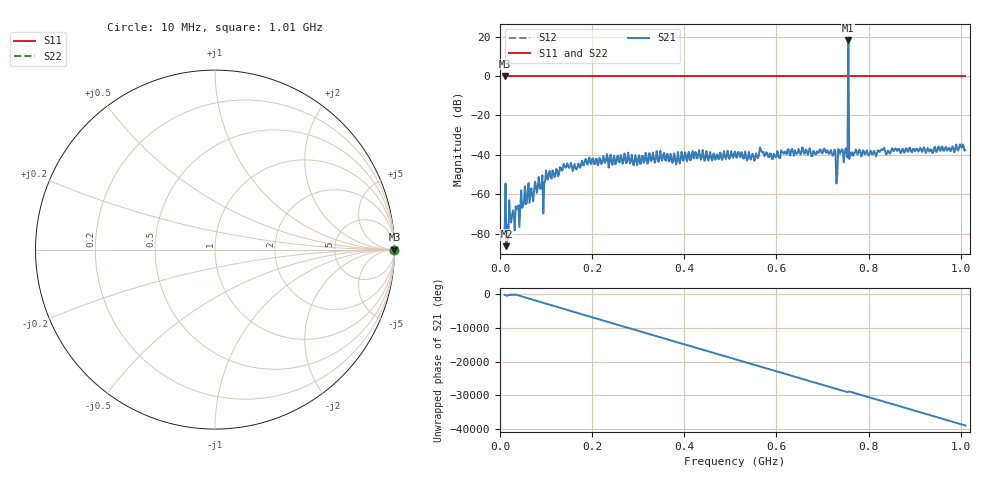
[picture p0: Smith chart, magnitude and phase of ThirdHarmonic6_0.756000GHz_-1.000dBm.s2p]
! 8/16/2025 1:17:05 AM
! C:\ANRITSUVNA\TEMP\TEMP.S2P
! CHANNEL.1
! TR.MEASUREMENT
! RAW.DATA
! RF.CORRECTION.OFF
! AVERAGING.OFF
! IF.BANDWIDTH: 5KHZ
! SWEEPTYPE:  FREQ.SWEEP(Linear)
! Reference Plane Port Info
! PORT:  PORT1  PORT2
! DISTANCE:  0  m  0  m
! TIME:  0  s  0  s
! PHASE.OFFSET:  0  deg.  0  deg.
! LOSS:  0  dB  0  dB
! REF.LOSS:  0  dB  0  dB
! REF.FREQ:  0  Hz  0  Hz
! Power Info
! POWER:  -20  dBm  -20  dBm
! EFF.POWER:  -20  dBm  -20  dBm
! SOURCE.ATTEN:  0  dB  0  dB
! TEST.ATTEN:  0  dB  0  dB
# GHZ S RI R 50.0
! FREQ.GHZ  S11RE  S11IM  S21RE  S21IM  S12RE  S12IM  S22RE  S22IM
!; PortSelection: Port_12
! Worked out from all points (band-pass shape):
!   501 points, 10 MHz to 1.01 GHz, reference 50 ohm
!   highest |S21| = 18.10 dB at 756 MHz (marker M1); lowest = -86.4 dB at 14 MHz (marker M2)
!   |S21| within 3 dB of the highest: 755.899 MHz to 756.0996 MHz (200.6 kHz wide, 0.0265 % of centre)
!   lowest |S11| = 0.0 dB at 10 MHz (marker M3)
!   |S11| at or under -10 dB: nowhere
!   |S22| runs from 0.0 to 0.0 dB; largest |S21 - S12| = 8.8
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0.01  1 0  -9.91e-05 -3.99e-05  1 0  1 0
0.014  1 0  4.6e-05 1.31e-05  1 0  1 0
0.04  1 0  0.00052 2.02e-05  1 0  1 0
0.058  1 0  0.000375 0.000441  1 0  1 0
0.088  1 0  -0.000616 -0.00121  1 0  1 0
0.092  1 0  0.000637 0.00297  1 0  1 0
0.104  1 0  0.00169 -0.00163  1 0  1 0
0.178  1 0  -0.00679 -0.00227  1 0  1 0
0.344  1 0  0.00661 -0.000108  1 0  1 0
0.51  1 0  -0.012 0.000991  1 0  1 0
0.678  1 0  0.0038 -0.00843  1 0  1 0
0.724  1 0  -0.00369 -0.00953  1 0  1 0
0.728  1 0  0.00512 0.0113  1 0  1 0
0.734  1 0  -0.0125 -0.00621  1 0  1 0
0.738  1 0  0.00887 0.00581  1 0  1 0
0.75  1 0  0.00124 -0.0146  1 0  1 0
0.752  1 0  -0.013 -0.000997  1 0  1 0
0.756  1 0  -5.934 -5.42  1 0  1 0
0.76  1 0  -0.00725 -0.00865  1 0  1 0
0.762  1 0  -0.00904 0.00412  1 0  1 0
0.844  1 0  -0.00229 0.0116  1 0  1 0
1.01  1 0  0.00639 -0.0116  1 0  1 0
